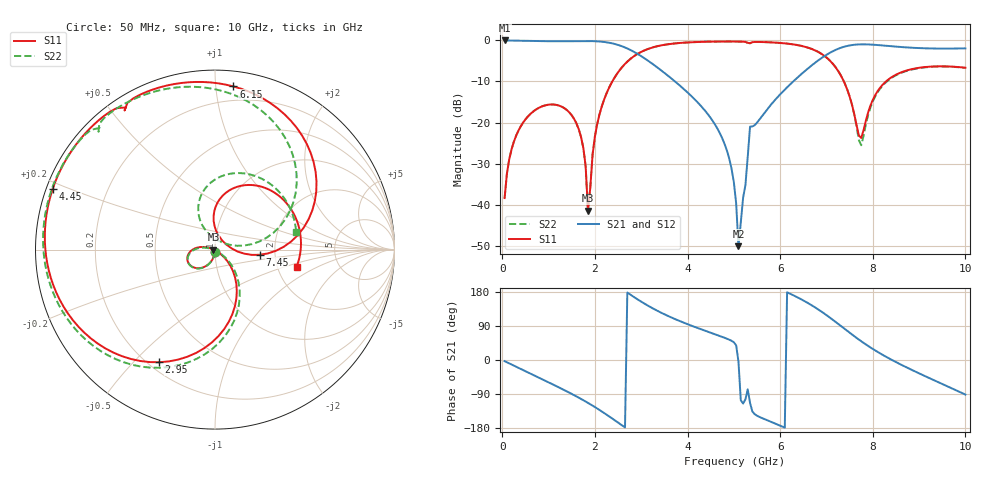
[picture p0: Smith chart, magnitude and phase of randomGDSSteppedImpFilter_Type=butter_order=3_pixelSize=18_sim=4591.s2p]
! freq	dB(S11)	phase(S11)	dB(S12)	phase(S12)
!  dB(S21)	phase(S21)	dB(S22)	phase(S22)
!S-par simulation data
#  GHz  S  DB  R 50
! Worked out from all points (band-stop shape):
!   200 points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, 50 MHz to 10 GHz, reference 50 ohm
!   highest |S21| = -0.01 dB at 50 MHz (marker M1); lowest = -50.1 dB at 5.1 GHz (marker M2)
!   |S21| within 3 dB of the highest: start of sweep to 2.879 GHz; 7.075 GHz to end of sweep
!   lowest |S11| = -41.5 dB at 1.85 GHz (marker M3), VSWR 1.02, Z = 49.2 + j0.0122 ohm
!   |S11| at or under -10 dB: start of sweep to 2.376 GHz; 7.375 GHz to 8.286 GHz (910.9 MHz wide, 11.6 % of centre)
!   |S22| runs from -41.5 to -0.3 dB; largest |S21 - S12| = 0
!   S11 on the Smith chart (normalised r, x): 50 MHz: 1.00, -0.02; 2.95 GHz: 0.24, -0.59; 4.45 GHz: 0.02, +0.18; 6.15 GHz: 0.10, +1.11; 7.45 GHz: 1.66, -0.10; 10 GHz: 2.56, -0.62
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0.05  -38.41 -92.7  -0.01 -3.0  -0.01 -3.0  -38.41 -92.6
0.25  -24.67 -105.1  -0.04 -14.9  -0.04 -14.9  -24.67 -104.7
0.75  -16.68 -135.4  -0.15 -44.3  -0.15 -44.3  -16.68 -134.1
1.4  -17.01 -174.4  -0.19 -83.2  -0.19 -83.2  -17.02 -172.0
1.75  -26.20 165.0  -0.15 -106.1  -0.15 -106.1  -26.23 168.3
1.85  -41.51 179.2  -0.15 -113.1  -0.15 -113.1  -41.53 -174.7
2  -23.40 -40.2  -0.19 -124.2  -0.19 -124.2  -23.36 -37.1
2.15  -16.02 -50.4  -0.31 -135.9  -0.31 -135.9  -16.01 -46.8
2.95  -3.09 -116.4  -3.48 157.7  -3.48 157.7  -3.08 -111.1
3.4  -1.28 -147.7  -7.03 126.7  -7.03 126.7  -1.27 -141.4
4.45  -0.31 159.6  -18.14 74.1  -18.14 74.1  -0.30 168.5
4.85  -0.26 142.6  -26.84 56.2  -26.84 56.2  -0.25 152.6
5.05  -0.27 134.1  -39.70 38.7  -39.70 38.7  -0.26 144.7
5.1  -0.27 131.9  -50.13 -4.3  -50.13 -4.3  -0.27 142.6
5.35  -0.68 123.0  -21.00 -113.4  -21.00 -113.4  -0.69 134.6
6.15  -0.77 83.5  -11.43 178.6  -11.43 178.6  -0.76 97.8
6.7  -2.16 49.0  -5.91 143.0  -5.91 143.0  -2.15 65.1
7.45  -12.02 -6.7  -1.33 76.6  -1.33 76.6  -11.97 10.4
7.75  -23.77 52.1  -0.95 49.5  -0.95 49.5  -25.54 70.3
8  -14.50 92.3  -1.03 29.2  -1.03 29.2  -14.87 117.1
8.35  -9.41 76.6  -1.36 4.3  -1.36 4.3  -9.57 101.2
10  -6.66 -11.7  -1.93 -91.2  -1.93 -91.2  -6.69 12.6
